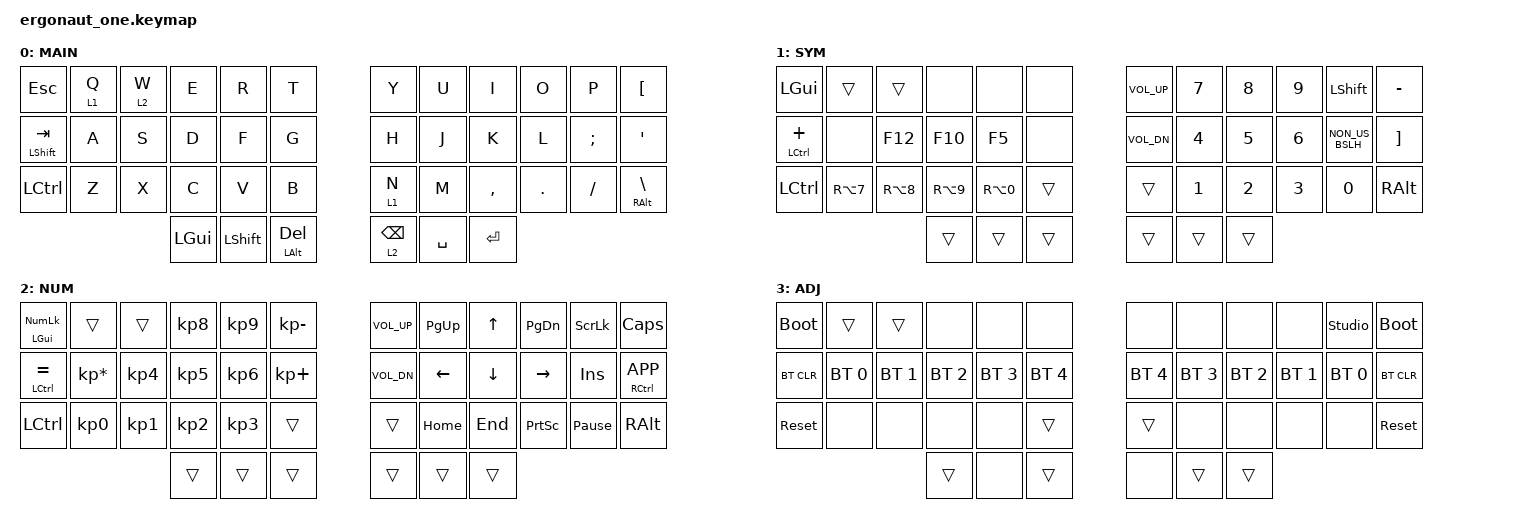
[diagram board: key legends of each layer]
#include <behaviors.dtsi>
#include <dt-bindings/zmk/bt.h>
#include <dt-bindings/zmk/keys.h>

#define DEF 0
#define LWR 1
#define RSE 2
#define ADJ 3

&lt { quick-tap-ms = <200>; };

&mt { quick-tap-ms = <200>; };

/ {
    conditional_layers {
        compatible = "zmk,conditional-layers";

        tri-layer {
            if-layers = <LWR RSE>;
            then-layer = <ADJ>;
        };

        Adj2 {
            if-layers = <1 2>;
            then-layer = <3>;
        };
    };

    keymap {
        compatible = "zmk,keymap";

        default_layer {
            display-name = "MAIN";
            bindings = <
&kp ESCAPE      &lt 1 Q  &lt 2 W  &kp E     &kp R           &kp T                &kp Y            &kp U      &kp I      &kp O    &kp P     &kp LBKT
&mt LSHIFT TAB  &kp A    &kp S    &kp D     &kp F           &kp G                &kp H            &kp J      &kp K      &kp L    &kp SEMI  &kp SQT
&kp LCTRL       &kp Z    &kp X    &kp C     &kp V           &kp B                &lt 1 N          &kp M      &kp COMMA  &kp DOT  &kp FSLH  &mt RIGHT_ALT BSLH
                                  &kp LGUI  &kp LEFT_SHIFT  &mt LEFT_ALT DELETE  &lt 2 BACKSPACE  &kp SPACE  &kp ENTER
            >;
        };

        lower_layer {
            display-name = "SYM";
            bindings = <
&kp LGUI          &trans      &trans      &none       &none       &none   &kp C_VOL_UP  &kp N7  &kp N8  &kp N9  &kp LSHFT        &kp MINUS
&mt LCTRL PLUS    &none       &kp F12     &kp F10     &kp F5      &none   &kp C_VOL_DN  &kp N4  &kp N5  &kp N6  &kp NON_US_BSLH  &kp RIGHT_BRACKET
&kp LEFT_CONTROL  &kp RA(N7)  &kp RA(N8)  &kp RA(N9)  &kp RA(N0)  &trans  &trans        &kp N1  &kp N2  &kp N3  &kp N0           &kp RALT
                                          &trans      &trans      &trans  &trans        &trans  &trans
            >;
        };

        raise_layer {
            display-name = "NUM";
            bindings = <
&mt LGUI KP_NUM   &trans           &trans     &kp KP_N8  &kp KP_N9  &kp KP_MINUS  &kp C_VOL_UP  &kp PG_UP  &kp UP_ARROW    &kp PAGE_DOWN    &kp SLCK         &kp CLCK
&mt LCTRL EQUAL   &kp KP_MULTIPLY  &kp KP_N4  &kp KP_N5  &kp KP_N6  &kp KP_PLUS   &kp C_VOL_DN  &kp LEFT   &kp DOWN_ARROW  &kp RIGHT        &kp INS          &mt RCTRL K_APP
&kp LEFT_CONTROL  &kp KP_N0        &kp KP_N1  &kp KP_N2  &kp KP_N3  &trans        &trans        &kp HOME   &kp END         &kp PRINTSCREEN  &kp PAUSE_BREAK  &kp RALT
                                              &trans     &trans     &trans        &trans        &trans     &trans
            >;
        };

        adjust_layer {
            display-name = "ADJ";
            bindings = <
&bootloader  &trans        &trans        &none         &none         &none         &none         &none         &none         &none         &studio_unlock  &bootloader
&bt BT_CLR   &bt BT_SEL 0  &bt BT_SEL 1  &bt BT_SEL 2  &bt BT_SEL 3  &bt BT_SEL 4  &bt BT_SEL 4  &bt BT_SEL 3  &bt BT_SEL 2  &bt BT_SEL 1  &bt BT_SEL 0    &bt BT_CLR
&sys_reset   &none         &none         &none         &none         &trans        &trans        &none         &none         &none         &none           &sys_reset
                                         &trans        &none         &trans        &none         &trans        &trans
            >;
        };
    };
};
